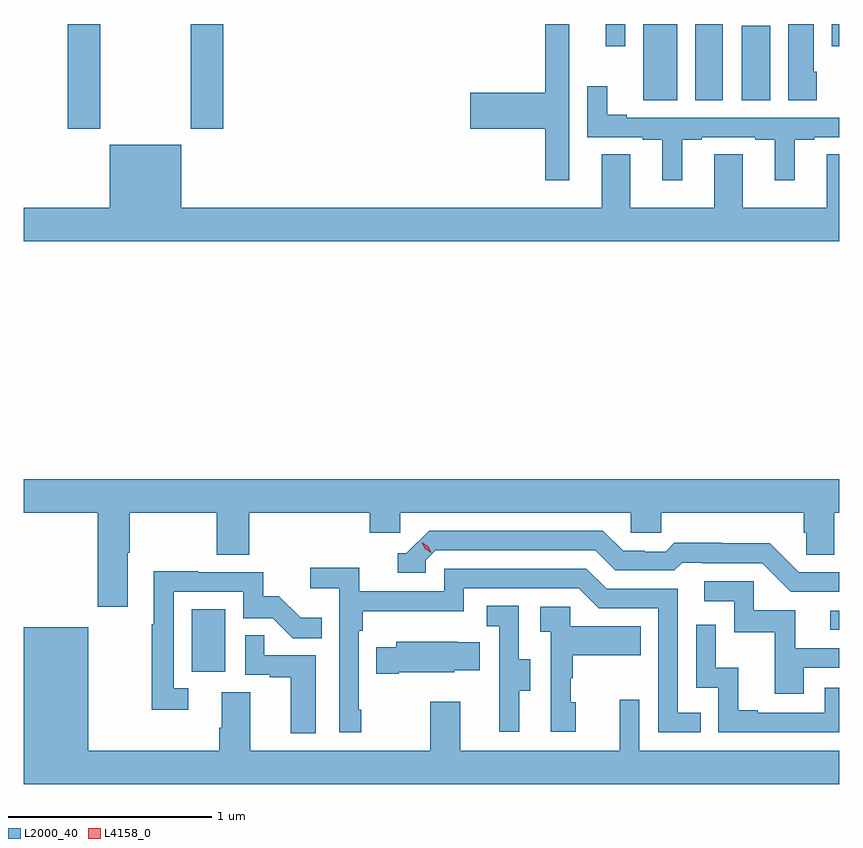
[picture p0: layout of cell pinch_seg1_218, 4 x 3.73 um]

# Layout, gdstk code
import gdstk
lib = gdstk.Library(unit=1e-6, precision=1e-09)
def R(c, l, rs):  # rectangles x0, y0, x1, y1
    for r in rs: c.add(gdstk.rectangle(r[:2], r[2:], *l))
def P(c, l, *ps):  # polygons
    for p in ps: c.add(gdstk.Polygon(p, *l))
L2000_40 = (2000, 40)
L4158_0 = (4158, 0)

pinch_seg1_218 = lib.new_cell('pinch_seg1_218')
R(pinch_seg1_218, L2000_40, [(993.602,569.598,993.766,569.905), (996.735,569.805,996.779,569.898), (992.993,572.265,993.153,572.778), (993.598,572.265,993.758,572.778), (995.819,572.404,995.986,572.778), (996.074,572.404,996.208,572.778), (996.302,572.404,996.442,572.77), (996.743,572.668,996.779,572.778), (995.633,572.67,995.73,572.778)])
P(pinch_seg1_218, L2000_40, [(996.67,572.544),(996.655,572.544),(996.655,572.778),(996.53,572.778),(996.53,572.404),(996.67,572.404)],
  [(995.454,572.524),(995.456,572.524),(995.456,572.778),(995.338,572.778),(995.338,572.441),(994.968,572.441),(994.968,572.263),(995.338,572.263),(995.338,572.01),(995.454,572.01)],
  [(996.01,572.211),(996.106,572.211),(996.106,572.223),(996.368,572.223),(996.368,572.211),(996.464,572.211),(996.464,572.01),(996.562,572.01),(996.562,572.211),(996.658,572.211),(996.658,572.223),(996.779,572.223),(996.779,572.319),(995.737,572.319),(995.737,572.332),(995.641,572.332),(995.641,572.473),(995.544,572.473),(995.544,572.223),(995.816,572.223),(995.816,572.211),(995.912,572.211),(995.912,572.01),(996.01,572.01)],
  [(996.779,572.138),(996.719,572.138),(996.719,571.876),(996.307,571.876),(996.307,572.138),(996.167,572.138),(996.167,571.876),(995.755,571.876),(995.755,572.138),(995.615,572.138),(995.615,571.876),(993.55,571.876),(993.55,572.185),(993.2,572.185),(993.2,571.876),(992.779,571.876),(992.779,571.712),(996.779,571.712)],
  [(993.289,570.184),(993.297,570.184),(993.297,570.38),(993.724,570.38),(993.724,570.172),(993.884,570.172),(993.884,570.38),(994.475,570.38),(994.475,570.282),(994.626,570.282),(994.626,570.38),(995.757,570.38),(995.757,570.282),(995.907,570.282),(995.907,570.38),(996.605,570.38),(996.605,570.282),(996.619,570.282),(996.619,570.172),(996.756,570.172),(996.756,570.38),(996.779,570.38),(996.779,570.544),(992.779,570.544),(992.779,570.38),(993.142,570.38),(993.142,569.919),(993.289,569.919)],
  [(996.779,570.087),(996.582,570.087),(996.44,570.229),(996.204,570.229),(996.204,570.232),(995.971,570.232),(995.929,570.189),(995.826,570.189),(995.826,570.192),(995.719,570.192),(995.62,570.291),(994.767,570.291),(994.656,570.18),(994.613,570.18),(994.613,570.084),(994.752,570.084),(994.752,570.147),(994.8,570.195),(995.583,570.195),(995.682,570.096),(995.971,570.096),(996.01,570.135),(996.109,570.135),(996.109,570.132),(996.402,570.132),(996.543,569.991),(996.779,569.991)],
  [(994.435,569.413),(994.422,569.413),(994.422,569.801),(994.442,569.801),(994.442,569.897),(994.938,569.897),(994.938,570.009),(995.502,570.009),(995.601,569.91),(995.892,569.91),(995.892,569.301),(996.101,569.301),(996.101,569.397),(995.988,569.397),(995.988,570.006),(995.638,570.006),(995.539,570.105),(994.842,570.105),(994.842,569.994),(994.424,569.994),(994.424,570.11),(994.185,570.11),(994.185,570.008),(994.326,570.008),(994.326,569.301),(994.435,569.301)],
  [(993.586,569.517),(993.513,569.517),(993.513,569.991),(993.855,569.991),(993.855,569.862),(994,569.862),(994.098,569.764),(994.241,569.764),(994.241,569.863),(994.137,569.863),(994.03,569.97),(993.954,569.97),(993.954,570.087),(993.635,570.087),(993.635,570.092),(993.417,570.092),(993.417,569.831),(993.405,569.831),(993.405,569.412),(993.586,569.412)],
  [(996.607,569.619),(996.779,569.619),(996.779,569.715),(996.565,569.715),(996.565,569.901),(996.36,569.901),(996.36,570.042),(996.117,570.042),(996.117,569.946),(996.264,569.946),(996.264,569.793),(996.463,569.793),(996.463,569.49),(996.607,569.49)],
  [(995.209,569.506),(995.263,569.506),(995.263,569.661),(995.208,569.661),(995.208,569.924),(995.049,569.924),(995.049,569.821),(995.112,569.821),(995.112,569.517),(995.111,569.517),(995.111,569.304),(995.209,569.304)],
  [(995.488,569.448),(995.463,569.448),(995.463,569.567),(995.473,569.567),(995.473,569.681),(995.807,569.681),(995.807,569.821),(995.46,569.821),(995.46,569.919),(995.313,569.919),(995.313,569.795),(995.364,569.795),(995.364,569.304),(995.488,569.304)],
  [(996.779,569.52),(996.708,569.52),(996.708,569.397),(996.379,569.397),(996.379,569.41),(996.284,569.41),(996.284,569.618),(996.174,569.618),(996.174,569.83),(996.078,569.83),(996.078,569.52),(996.186,569.52),(996.186,569.301),(996.779,569.301)],
  [(996.779,569.212),(995.799,569.212),(995.799,569.461),(995.702,569.461),(995.702,569.212),(994.921,569.212),(994.921,569.452),(994.774,569.452),(994.774,569.212),(993.889,569.212),(993.889,569.498),(993.749,569.498),(993.749,569.324),(993.737,569.324),(993.737,569.212),(993.094,569.212),(993.094,569.818),(992.779,569.818),(992.779,569.048),(996.779,569.048)],
  [(994.21,569.679),(993.959,569.679),(993.959,569.777),(993.864,569.777),(993.864,569.583),(993.985,569.583),(993.985,569.571),(994.088,569.571),(994.088,569.297),(994.21,569.297)],
  [(994.618,569.597),(994.89,569.597),(994.89,569.606),(995.015,569.606),(995.015,569.743),(994.907,569.743),(994.907,569.746),(994.605,569.746),(994.605,569.719),(994.507,569.719),(994.507,569.59),(994.618,569.59)])
P(pinch_seg1_218, L4158_0, [(994.778,570.183),(994.747,570.202),(994.73,570.234),(994.73,570.235),(994.731,570.235),(994.762,570.215),(994.778,570.183),(994.778,570.183)])

lib.write_gds('pinch_seg1_218.gds')
